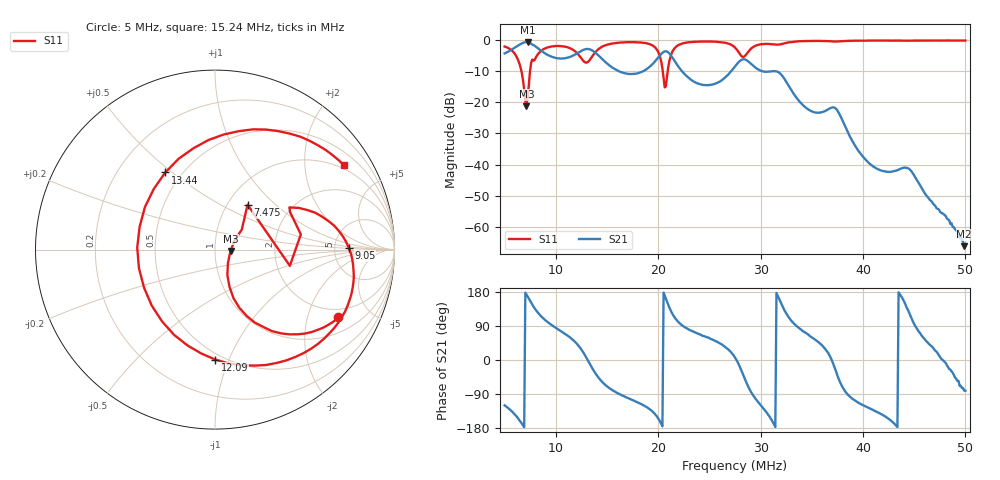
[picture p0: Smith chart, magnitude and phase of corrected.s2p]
! S11/S21 only; reverse parameters are placeholders. Device calibration unverified.
! [Saver CAL applied] C:\Users\aknya\MyProjects\rf-simulator\calibration2.cal | Ideal standards assumed | Input: NanoVNA F V2 profile | COM3 | 2026-09-08T11:21:15.2810053-04:00 | device calibration unverified
# HZ S RI R 50
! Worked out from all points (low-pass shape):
!   401 points, 5 MHz to 50 MHz, reference 50 ohm
!   highest |S21| = -0.63 dB at 7.25 MHz (marker M1); lowest = -66.2 dB at 49.89 MHz (marker M2)
!   |S21| within 3 dB of the highest: 5.414 MHz to 8.649 MHz (3.236 MHz wide, 46 % of centre); 12.42 MHz to 13.68 MHz (1.267 MHz wide, 9.71 % of centre)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
!   lowest |S11| = -21.2 dB at 7.138 MHz (marker M3), VSWR 1.19, Z = 59.5 - j0.838 ohm
!   |S11| at or under -10 dB: 6.638 MHz to 7.483 MHz (844.9 kHz wide, 12 % of centre); 20.45 MHz to 20.93 MHz (483.2 kHz wide, 2.34 % of centre)
!   S12 and S22 are empty: the file has one direction only
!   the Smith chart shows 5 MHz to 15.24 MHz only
!   S11 on the Smith chart (normalised r, x): 5 MHz: 1.60, -3.15; 7.475 MHz: 1.23, +0.68; 9.05 MHz: 6.84, +0.30; 12.09 MHz: 0.46, -0.89; 13.44 MHz: 0.41, +0.47; 15.24 MHz: 0.88, +3.14
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5000000  0.6877 -0.3773  -0.3021 -0.5306  0 0  0 0
7137500  0.0864 -0.00699  -0.9197 0.1184  0 0  0 0
7250000  0.1112 0.0557  -0.9086 0.1999  0 0  0 0
7475000  0.1814 0.2501  -0.8485 0.3586  0 0  0 0
9050000  0.7452 0.00971  -0.1365 0.5792  0 0  0 0
1.20875e7  0.00211 -0.6129  0.4554 0.4075  0 0  0 0
1.25375e7  -0.2951 -0.3998  0.6071 0.2966  0 0  0 0
1.34375e7  -0.277 0.4296  0.6694 -0.1908  0 0  0 0
1.52375e7  0.7193 0.4687  0.1052 -0.3763  0 0  0 0
1.81625e7  0.8988 -0.1727  -0.1212 -0.2728  0 0  0 0
2.0075e7  0.3972 -0.4525  -0.4992 -0.2097  0 0  0 0
2.06375e7  0.1532 -0.0813  -0.6463 0.1125  0 0  0 0
2.13125e7  0.5512 0.265  -0.3171 0.4427  0 0  0 0
2.33375e7  0.9157 -0.1571  0.0535 0.2155  0 0  0 0
2.75e7  0.534 -0.5348  0.3733 0.043  0 0  0 0
2.885e7  0.6332 -0.2033  0.1259 -0.4281  0 0  0 0
3.1325e7  0.7161 -0.4496  -0.3124 -0.0516  0 0  0 0
3.50375e7  0.7056 -0.6608  0.0365 0.061  0 0  0 0
4.2575e7  0.4354 -0.875  -0.00697 -0.00308  0 0  0 0
4.46e7  0.359 -0.9079  -0.00405 0.00721  0 0  0 0
4.98875e7  0.161 -0.9673  7.69e-05 -0.000485  0 0  0 0
5e7  0.1578 -0.9677  7.84e-05 -0.000502  0 0  0 0
